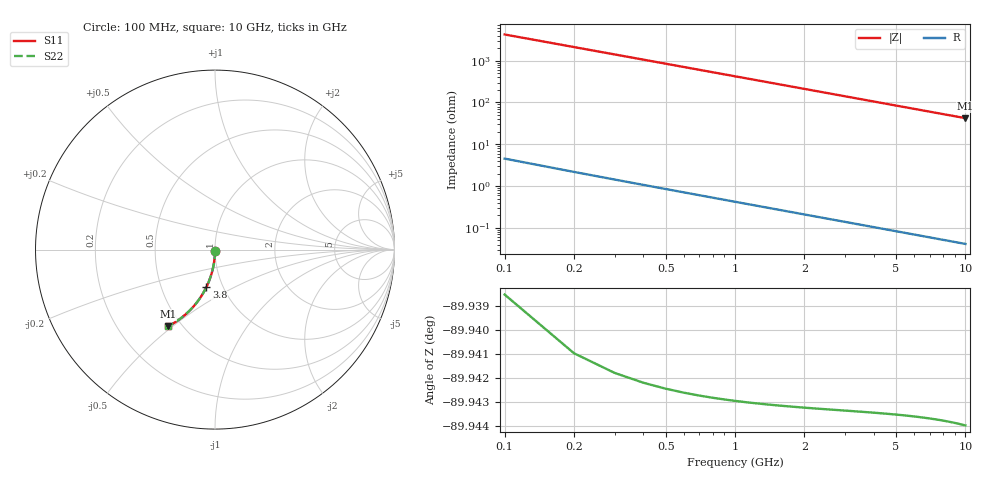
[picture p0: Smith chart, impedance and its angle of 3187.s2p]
# Hz S RI R 50.00
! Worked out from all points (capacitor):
!   100 points, 100 MHz to 10 GHz, reference 50 ohm
!   read as one part in shunt: C = 375 fF near 100 MHz
!   lowest |Z| = 42.3 ohm at 10 GHz (marker M1)
!   S11 on the Smith chart (normalised r, x): 100 MHz: 1.00, -0.01; 3.8 GHz: 0.83, -0.37; 10 GHz: 0.42, -0.48
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1e8  -1.91e-05 -0.00578  0.9999 -0.00601  0.9999 -0.00601  -1.91e-05 -0.00578
2e8  -0.000129 -0.0116  0.9998 -0.012  0.9998 -0.012  -0.000129 -0.0116
3e8  -0.000308 -0.0173  0.9996 -0.018  0.9996 -0.018  -0.000308 -0.0173
4e8  -0.000557 -0.0231  0.9994 -0.024  0.9994 -0.024  -0.000557 -0.0231
5e8  -0.000875 -0.0289  0.9991 -0.03  0.9991 -0.03  -0.000875 -0.0289
6e8  -0.00126 -0.0346  0.9987 -0.036  0.9987 -0.036  -0.00126 -0.0346
7e8  -0.00172 -0.0404  0.9982 -0.042  0.9982 -0.042  -0.00172 -0.0404
8e8  -0.00224 -0.0462  0.9977 -0.048  0.9977 -0.048  -0.00224 -0.0462
9e8  -0.00284 -0.0519  0.9971 -0.054  0.9971 -0.054  -0.00284 -0.0519
1.1e9  -0.00423 -0.0633  0.9957 -0.0659  0.9957 -0.0659  -0.00423 -0.0633
1.4e9  -0.00684 -0.0804  0.9931 -0.0837  0.9931 -0.0837  -0.00684 -0.0804
1.8e9  -0.0112 -0.103  0.9887 -0.1072  0.9887 -0.1072  -0.0112 -0.103
2.1e9  -0.0152 -0.1197  0.9847 -0.1246  0.9847 -0.1246  -0.0152 -0.1197
2.5e9  -0.0215 -0.1416  0.9785 -0.1475  0.9785 -0.1475  -0.0215 -0.1416
2.9e9  -0.0287 -0.1631  0.9712 -0.1699  0.9712 -0.1699  -0.0287 -0.1631
3.4e9  -0.039 -0.1893  0.9609 -0.1973  0.9609 -0.1973  -0.039 -0.1893
3.8e9  -0.0483 -0.2096  0.9516 -0.2185  0.9516 -0.2185  -0.0483 -0.2096
4.4e9  -0.0638 -0.2388  0.9361 -0.2491  0.9361 -0.2491  -0.0638 -0.2388
5.1e9  -0.084 -0.2709  0.9159 -0.2829  0.9159 -0.2829  -0.084 -0.2709
6.7e9  -0.1369 -0.3354  0.8629 -0.3513  0.8629 -0.3513  -0.1369 -0.3354
8.4e9  -0.2 -0.3895  0.7998 -0.4096  0.7998 -0.4096  -0.2 -0.3895
1e10  -0.2619 -0.4272  0.7377 -0.4513  0.7377 -0.4513  -0.2619 -0.4272
